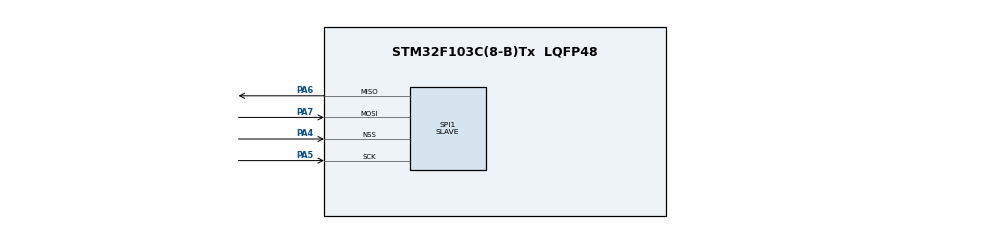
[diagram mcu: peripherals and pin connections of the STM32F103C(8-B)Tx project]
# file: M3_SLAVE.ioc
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Mcu.Family=STM32F1
Mcu.Name=STM32F103C(8-B)Tx
Mcu.Package=LQFP48
NVIC.PriorityGroup=NVIC_PRIORITYGROUP_4
PA4.Mode=NSS_Signal_Hard_Input
PA4.Signal=SPI1_NSS
PA5.Mode=Full_Duplex_Slave
PA5.Signal=SPI1_SCK
PA6.Mode=Full_Duplex_Slave
PA6.Signal=SPI1_MISO
PA7.Mode=Full_Duplex_Slave
PA7.Signal=SPI1_MOSI
ProjectManager.HeapSize=0x200
ProjectManager.StackSize=0x400
ProjectManager.TargetToolchain=STM32CubeIDE
RCC.APB1Freq_Value=8000000
RCC.APB2Freq_Value=8000000
SPI1.Direction=SPI_DIRECTION_2LINES
SPI1.Mode=SPI_MODE_SLAVE
SPI1.VirtualNSS=VM_NSSHARD
SPI1.VirtualType=VM_SLAVE
VP_SYS_VS_ND.Mode=No_Debug
board=custom

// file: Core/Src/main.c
/* USER CODE BEGIN Header */
/**
  ******************************************************************************
  * @file           : main.c
  * @brief          : Milestone 3 - SPI Slave
  ******************************************************************************
  */

#include "main.h"

SPI_HandleTypeDef hspi1;

void SystemClock_Config(void);
static void MX_GPIO_Init(void);
static void MX_SPI1_Init(void);

/* USER CODE BEGIN 0 */

/*
 * Case ID and corresponding data
 *
 * Voltage is stored as:
 * 12.3 V -> 123
 * 14.2 V -> 142
 * 13.8 V -> 138
 * 11.5 V -> 115
 * 10.9 V -> 109
 *
 * The voltage and speed are packed into a 24-bit message:
 *
 * Bits 23:12 -> Voltage
 * Bits 11:0  -> Wheel Speed
 */
typedef struct
{
    uint16_t id;
    uint16_t voltage;
    uint16_t speed;
} CaseData;

CaseData cases[5] =
{
    {0x1001, 123, 200},
    {0x1002, 142, 150},
    {0x1003, 138, 100},
    {0x1004, 115, 220},
    {0x1005, 109, 280}
};

/*
 * Encode voltage and speed into a 24-bit value
 */
uint32_t EncodeData(uint16_t voltage, uint16_t speed)
{
    uint32_t message;

    message = ((uint32_t)(voltage & 0x0FFF) << 12);
    message |= (speed & 0x0FFF);

    return message;
}

/*
 * Find the data corresponding to the received Case ID
 */
uint32_t GetResponse(uint16_t id)
{
    uint8_t i;

    for (i = 0; i < 5; i++)
    {
        if (cases[i].id == id)
        {
            return EncodeData(cases[i].voltage,
                              cases[i].speed);
        }
    }

    /*
     * Invalid Case ID
     */
    return 0;
}

/* USER CODE END 0 */

int main(void)
{
    /* MCU Configuration------------------------------------------------------*/

    HAL_Init();

    SystemClock_Config();

    MX_GPIO_Init();
    MX_SPI1_Init();

    /* USER CODE BEGIN 2 */

    uint8_t rxID[2];
    uint8_t txData[3];

    uint16_t receivedID;
    uint32_t response;

    /* USER CODE END 2 */

    /* Infinite loop */
    while (1)
    {
        /*
         * ============================================================
         * SPI CYCLE 1
         * ============================================================
         *
         * Receive the 16-bit Case ID from the Master.
         *
         * Example:
         *
         * Master sends:
         * 0x1001
         *
         * rxID[0] = 0x10
         * rxID[1] = 0x01
         */

        if (HAL_SPI_Receive(&hspi1,
                            rxID,
                            2,
                            HAL_MAX_DELAY) == HAL_OK)
        {
            /*
             * Convert two bytes into a 16-bit Case ID
             *
             * MSB first:
             *
             * receivedID = [byte0][byte1]
             */
            receivedID = ((uint16_t)rxID[0] << 8) |
                          rxID[1];

            /*
             * Find the corresponding voltage and speed
             */
            response = GetResponse(receivedID);

            /*
             * ========================================================
             * Convert 24-bit response into 3 bytes
             * ========================================================
             *
             * Example:
             *
             * response = 0x07B00C8
             *
             * txData[0] = upper 8 bits
             * txData[1] = middle 8 bits
             * txData[2] = lower 8 bits
             */
            txData[0] = (uint8_t)((response >> 16) & 0xFF);
            txData[1] = (uint8_t)((response >> 8)  & 0xFF);
            txData[2] = (uint8_t)(response & 0xFF);

            /*
             * ========================================================
             * SPI CYCLE 2
             * ========================================================
             *
             * Send the 24-bit response to the Master.
             */
            HAL_SPI_Transmit(&hspi1,
                             txData,
                             3,
                             HAL_MAX_DELAY);
        }
    }
}

void SystemClock_Config(void)
{
    RCC_OscInitTypeDef RCC_OscInitStruct = {0};
    RCC_ClkInitTypeDef RCC_ClkInitStruct = {0};

    /*
     * Initializes the RCC Oscillators according to the specified parameters
     * in the RCC_OscInitTypeDef structure.
     */
    RCC_OscInitStruct.OscillatorType = RCC_OSCILLATORTYPE_HSI;
    RCC_OscInitStruct.HSIState = RCC_HSI_ON;
    RCC_OscInitStruct.HSICalibrationValue = RCC_HSICALIBRATION_DEFAULT;
    RCC_OscInitStruct.PLL.PLLState = RCC_PLL_NONE;

    if (HAL_RCC_OscConfig(&RCC_OscInitStruct) != HAL_OK)
    {
        Error_Handler();
    }

    /*
     * Initializes the CPU, AHB and APB buses clocks
     */
    RCC_ClkInitStruct.ClockType = RCC_CLOCKTYPE_HCLK |
                                  RCC_CLOCKTYPE_SYSCLK |
                                  RCC_CLOCKTYPE_PCLK1 |
                                  RCC_CLOCKTYPE_PCLK2;

    RCC_ClkInitStruct.SYSCLKSource = RCC_SYSCLKSOURCE_HSI;
    RCC_ClkInitStruct.AHBCLKDivider = RCC_SYSCLK_DIV1;
    RCC_ClkInitStruct.APB1CLKDivider = RCC_HCLK_DIV1;
    RCC_ClkInitStruct.APB2CLKDivider = RCC_HCLK_DIV1;

    if (HAL_RCC_ClockConfig(&RCC_ClkInitStruct, FLASH_LATENCY_0) != HAL_OK)
    {
        Error_Handler();
    }
}

static void MX_SPI1_Init(void)
{
    /* SPI1 parameter configuration*/

    hspi1.Instance = SPI1;

    /*
     * Slave mode
     */
    hspi1.Init.Mode = SPI_MODE_SLAVE;

    /*
     * Full duplex
     */
    hspi1.Init.Direction = SPI_DIRECTION_2LINES;

    /*
     * 8-bit SPI transfers
     */
    hspi1.Init.DataSize = SPI_DATASIZE_8BIT;

    /*
     * Clock polarity LOW
     */
    hspi1.Init.CLKPolarity = SPI_POLARITY_LOW;

    /*
     * Clock phase = first edge
     */
    hspi1.Init.CLKPhase = SPI_PHASE_1EDGE;

    /*
     * IMPORTANT:
     *
     * Slave uses hardware NSS.
     *
     * PA4 = SPI1_NSS
     */
    hspi1.Init.NSS = SPI_NSS_HARD_INPUT;

    /*
     * Most significant bit first
     */
    hspi1.Init.FirstBit = SPI_FIRSTBIT_MSB;

    hspi1.Init.TIMode = SPI_TIMODE_DISABLE;
    hspi1.Init.CRCCalculation = SPI_CRCCALCULATION_DISABLE;
    hspi1.Init.CRCPolynomial = 10;

    if (HAL_SPI_Init(&hspi1) != HAL_OK)
    {
        Error_Handler();
    }
}

static void MX_GPIO_Init(void)
{
    /*
     * Enable GPIOA clock
     */
    __HAL_RCC_GPIOA_CLK_ENABLE();
}

void Error_Handler(void)
{
    __disable_irq();

    while (1)
    {
    }
}

/**
  ******************************************************************************
  * @file           : main.c
  * @brief          : Milestone 3 - SPI Slave
  ******************************************************************************
  */

#include "main.h"

SPI_HandleTypeDef hspi1;

void SystemClock_Config(void);
static void MX_GPIO_Init(void);
static void MX_SPI1_Init(void);

/* USER CODE BEGIN 0 */

/*
 * Case ID and corresponding data
 *
 * Voltage is stored as:
 * 12.3 V -> 123
 * 14.2 V -> 142
 * 13.8 V -> 138
 * 11.5 V -> 115
 * 10.9 V -> 109
 *
 * The voltage and speed are packed into a 24-bit message:
 *
 * Bits 23:12 -> Voltage
 * Bits 11:0  -> Wheel Speed
 */
typedef struct
{
    uint16_t id;
    uint16_t voltage;
    uint16_t speed;
} CaseData;

CaseData cases[5] =
{
    {0x1001, 123, 200},
    {0x1002, 142, 150},
    {0x1003, 138, 100},
    {0x1004, 115, 220},
    {0x1005, 109, 280}
};

/*
 * Encode voltage and speed into a 24-bit value
 */
uint32_t EncodeData(uint16_t voltage, uint16_t speed)
{
    uint32_t message;

    message = ((uint32_t)(voltage & 0x0FFF) << 12);
    message |= (speed & 0x0FFF);

    return message;
}

/*
 * Find the data corresponding to the received Case ID
 */
uint32_t GetResponse(uint16_t id)
{
    uint8_t i;

    for (i = 0; i < 5; i++)
    {
        if (cases[i].id == id)
        {
            return EncodeData(cases[i].voltage,
                              cases[i].speed);
        }
    }

    /*
     * Invalid Case ID
     */
    return 0;
}

/* USER CODE END 0 */

int main(void)
{
    /* MCU Configuration------------------------------------------------------*/

    HAL_Init();

    SystemClock_Config();

    MX_GPIO_Init();
    MX_SPI1_Init();

    /* USER CODE BEGIN 2 */

    uint8_t rxID[2];
    uint8_t txData[3];

    uint16_t receivedID;
    uint32_t response;

    /* USER CODE END 2 */

    /* Infinite loop */
    while (1)
    {
        /*
         * ============================================================
         * SPI CYCLE 1
         * ============================================================
         *
         * Receive the 16-bit Case ID from the Master.
         *
         * Example:
         *
         * Master sends:
         * 0x1001
         *
         * rxID[0] = 0x10
         * rxID[1] = 0x01
         */

        if (HAL_SPI_Receive(&hspi1,
                            rxID,
                            2,
                            HAL_MAX_DELAY) == HAL_OK)
        {
            /*
             * Convert two bytes into a 16-bit Case ID
             *
             * MSB first:
             *
             * receivedID = [byte0][byte1]
             */
            receivedID = ((uint16_t)rxID[0] << 8) |
                          rxID[1];

            /*
             * Find the corresponding voltage and speed
             */
            response = GetResponse(receivedID);

            /*
             * ========================================================
             * Convert 24-bit response into 3 bytes
             * ========================================================
             *
             * Example:
             *
             * response = 0x07B00C8
             *
             * txData[0] = upper 8 bits
             * txData[1] = middle 8 bits
             * txData[2] = lower 8 bits
             */
            txData[0] = (uint8_t)((response >> 16) & 0xFF);
            txData[1] = (uint8_t)((response >> 8)  & 0xFF);
            txData[2] = (uint8_t)(response & 0xFF);

            /*
             * ========================================================
             * SPI CYCLE 2
             * ========================================================
             *
             * Send the 24-bit response to the Master.
             */
            HAL_SPI_Transmit(&hspi1,
                             txData,
                             3,
                             HAL_MAX_DELAY);
        }
    }
}

void SystemClock_Config(void)
{
    RCC_OscInitTypeDef RCC_OscInitStruct = {0};
    RCC_ClkInitTypeDef RCC_ClkInitStruct = {0};

    /*
     * Initializes the RCC Oscillators according to the specified parameters
     * in the RCC_OscInitTypeDef structure.
     */
    RCC_OscInitStruct.OscillatorType = RCC_OSCILLATORTYPE_HSI;
    RCC_OscInitStruct.HSIState = RCC_HSI_ON;
    RCC_OscInitStruct.HSICalibrationValue = RCC_HSICALIBRATION_DEFAULT;
    RCC_OscInitStruct.PLL.PLLState = RCC_PLL_NONE;

    if (HAL_RCC_OscConfig(&RCC_OscInitStruct) != HAL_OK)
    {
        Error_Handler();
    }

    /*
     * Initializes the CPU, AHB and APB buses clocks
     */
    RCC_ClkInitStruct.ClockType = RCC_CLOCKTYPE_HCLK |
                                  RCC_CLOCKTYPE_SYSCLK |
                                  RCC_CLOCKTYPE_PCLK1 |
                                  RCC_CLOCKTYPE_PCLK2;

    RCC_ClkInitStruct.SYSCLKSource = RCC_SYSCLKSOURCE_HSI;
    RCC_ClkInitStruct.AHBCLKDivider = RCC_SYSCLK_DIV1;
    RCC_ClkInitStruct.APB1CLKDivider = RCC_HCLK_DIV1;
    RCC_ClkInitStruct.APB2CLKDivider = RCC_HCLK_DIV1;

    if (HAL_RCC_ClockConfig(&RCC_ClkInitStruct, FLASH_LATENCY_0) != HAL_OK)
    {
        Error_Handler();
    }
}

static void MX_SPI1_Init(void)
{
    /* SPI1 parameter configuration*/

    hspi1.Instance = SPI1;

    /*
     * Slave mode
     */
    hspi1.Init.Mode = SPI_MODE_SLAVE;

    /*
     * Full duplex
     */
    hspi1.Init.Direction = SPI_DIRECTION_2LINES;

    /*
     * 8-bit SPI transfers
     */
    hspi1.Init.DataSize = SPI_DATASIZE_8BIT;

    /*
     * Clock polarity LOW
     */
    hspi1.Init.CLKPolarity = SPI_POLARITY_LOW;

    /*
     * Clock phase = first edge
     */
    hspi1.Init.CLKPhase = SPI_PHASE_1EDGE;

    /*
     * IMPORTANT:
     *
     * Slave uses hardware NSS.
     *
     * PA4 = SPI1_NSS
     */
    hspi1.Init.NSS = SPI_NSS_HARD_INPUT;

    /*
     * Most significant bit first
     */
    hspi1.Init.FirstBit = SPI_FIRSTBIT_MSB;

    hspi1.Init.TIMode = SPI_TIMODE_DISABLE;
    hspi1.Init.CRCCalculation = SPI_CRCCALCULATION_DISABLE;
    hspi1.Init.CRCPolynomial = 10;

    if (HAL_SPI_Init(&hspi1) != HAL_OK)
    {
        Error_Handler();
    }
}

static void MX_GPIO_Init(void)
{
    /*
     * Enable GPIOA clock
     */
    __HAL_RCC_GPIOA_CLK_ENABLE();
}

void Error_Handler(void)
{
    __disable_irq();

    while (1)
    {
    }
}
